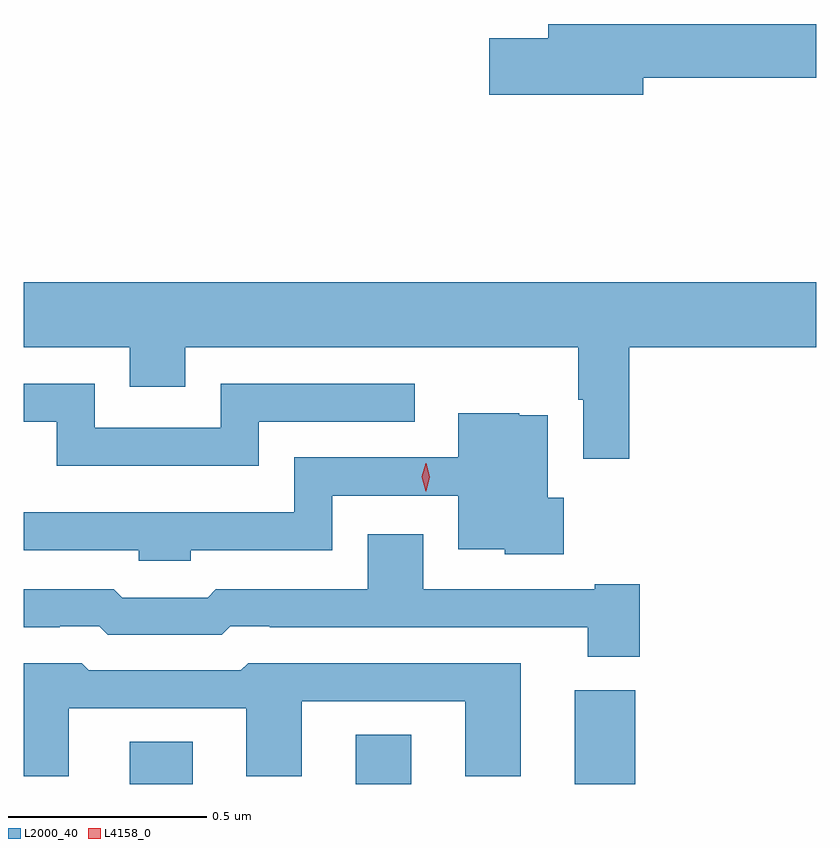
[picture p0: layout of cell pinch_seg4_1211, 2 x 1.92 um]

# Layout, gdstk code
import gdstk
lib = gdstk.Library(unit=1e-6, precision=1e-09)
def R(c, l, rs):  # rectangles x0, y0, x1, y1
    for r in rs: c.add(gdstk.rectangle(r[:2], r[2:], *l))
def P(c, l, *ps):  # polygons
    for p in ps: c.add(gdstk.Polygon(p, *l))
L2000_40 = (2000, 40)
L4158_0 = (4158, 0)

pinch_seg4_1211 = lib.new_cell('pinch_seg4_1211')
R(pinch_seg4_1211, L2000_40, [(555.593,765.082,555.751,765.188), (556.163,765.082,556.303,765.206), (556.715,765.082,556.868,765.318)])
P(pinch_seg4_1211, L2000_40, [(556.888,766.864),(557.325,766.864),(557.325,767),(556.649,767),(556.649,766.964),(556.5,766.964),(556.5,766.822),(556.888,766.822)],
  [(556.853,766.184),(557.325,766.184),(557.325,766.348),(555.325,766.348),(555.325,766.184),(555.593,766.184),(555.593,766.085),(555.733,766.085),(555.733,766.184),(556.725,766.184),(556.725,766.052),(556.737,766.052),(556.737,765.903),(556.853,765.903)],
  [(555.918,765.996),(556.312,765.996),(556.312,766.092),(555.822,766.092),(555.822,765.981),(555.504,765.981),(555.504,766.092),(555.325,766.092),(555.325,765.996),(555.408,765.996),(555.408,765.885),(555.918,765.885)],
  [(555.747,765.672),(556.104,765.672),(556.104,765.81),(556.421,765.81),(556.421,765.674),(556.539,765.674),(556.539,765.662),(556.688,765.662),(556.688,765.804),(556.648,765.804),(556.648,766.012),(556.575,766.012),(556.575,766.018),(556.421,766.018),(556.421,765.906),(556.008,765.906),(556.008,765.768),(555.325,765.768),(555.325,765.672),(555.615,765.672),(555.615,765.645),(555.747,765.645)],
  [(556.879,765.586),(556.766,765.586),(556.766,765.573),(556.333,765.573),(556.333,765.712),(556.193,765.712),(556.193,765.573),(555.81,765.573),(555.789,765.552),(555.573,765.552),(555.552,765.573),(555.325,765.573),(555.325,765.477),(555.416,765.477),(555.416,765.48),(555.516,765.48),(555.537,765.459),(555.825,765.459),(555.846,765.48),(555.946,765.48),(555.946,765.477),(556.748,765.477),(556.748,765.403),(556.879,765.403)],
  [(555.439,765.273),(555.887,765.273),(555.887,765.101),(556.027,765.101),(556.027,765.291),(556.439,765.291),(556.439,765.101),(556.579,765.101),(556.579,765.387),(555.891,765.387),(555.873,765.369),(555.489,765.369),(555.471,765.387),(555.325,765.387),(555.325,765.101),(555.439,765.101)])
P(pinch_seg4_1211, L4158_0, [(556.34,765.821),(556.34,765.821),(556.33,765.857),(556.34,765.892),(556.34,765.892),(556.341,765.892),(556.35,765.857),(556.341,765.821)])

lib.write_gds('pinch_seg4_1211.gds')
